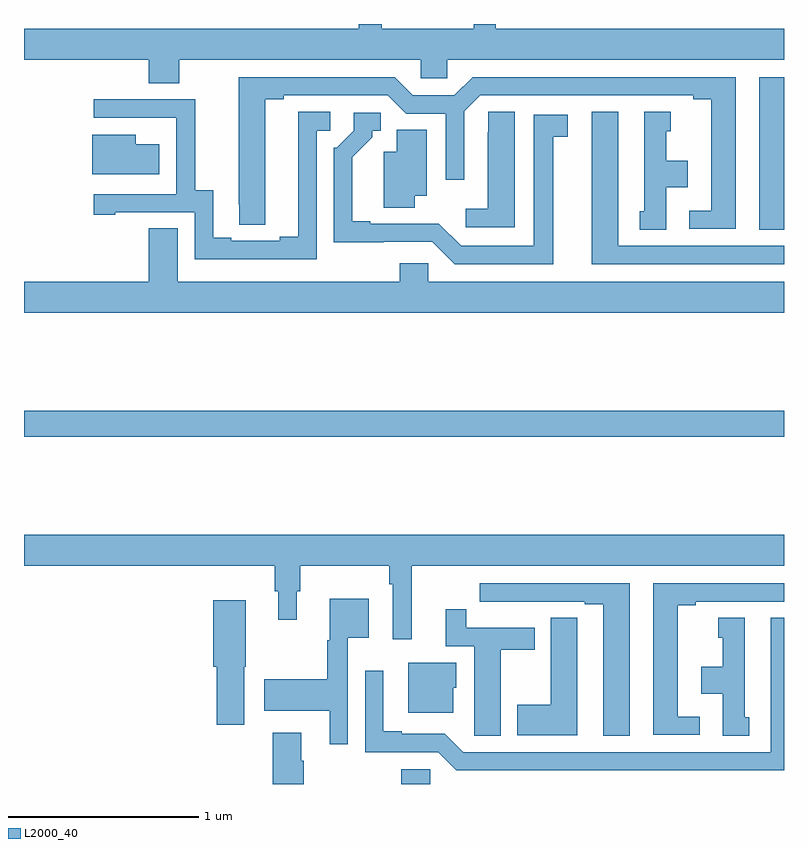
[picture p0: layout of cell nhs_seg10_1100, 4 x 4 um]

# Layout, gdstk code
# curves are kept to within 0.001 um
import gdstk
lib = gdstk.Library(unit=1e-6, precision=1e-09)
def R(c, l, rs):  # rectangles x0, y0, x1, y1
    for r in rs: c.add(gdstk.rectangle(r[:2], r[2:], *l))
def P(c, l, *ps):  # polygons
    for p in ps: c.add(gdstk.Polygon(p, *l))
L2000_40 = (2000, 40)

nhs_seg10_1100 = lib.new_cell('nhs_seg10_1100')
R(nhs_seg10_1100, L2000_40, [(168.986,1300.5,169.137,1300.578), (167,1302.328,171,1302.464), (170.87,1303.417,171,1304.22)])
P(nhs_seg10_1100, L2000_40, [(167.817,1304.312),(169.089,1304.312),(169.089,1304.214),(169.227,1304.214),(169.227,1304.312),(171,1304.312),(171,1304.476),(169.484,1304.476),(169.484,1304.5),(169.366,1304.5),(169.366,1304.476),(168.882,1304.476),(168.882,1304.5),(168.763,1304.5),(168.763,1304.476),(167,1304.476),(167,1304.312),(167.657,1304.312),(167.657,1304.188),(167.817,1304.188)],
  [(170.746,1304.22),(169.361,1304.22),(169.265,1304.124),(169.047,1304.124),(168.951,1304.22),(168.131,1304.22),(168.132,1303.444),(168.271,1303.444),(168.271,1304.104),(168.367,1304.104),(168.367,1304.124),(168.915,1304.124),(169.011,1304.028),(169.221,1304.028),(169.221,1303.68),(169.317,1303.68),(169.317,1304.04),(169.401,1304.124),(170.522,1304.124),(170.522,1304.104),(170.618,1304.104),(170.618,1303.518),(170.502,1303.518),(170.502,1303.422),(170.746,1303.422)],
  [(168.54,1303.938),(168.613,1303.938),(168.613,1304.039),(168.443,1304.039),(168.443,1303.379),(168.347,1303.379),(168.347,1303.359),(168.091,1303.359),(168.091,1303.374),(167.995,1303.374),(167.995,1303.625),(167.901,1303.625),(167.901,1304.103),(167.367,1304.103),(167.367,1304.007),(167.801,1304.007),(167.801,1304.006),(167.802,1304.006),(167.802,1303.605),(167.367,1303.605),(167.367,1303.497),(167.479,1303.497),(167.479,1303.509),(167.898,1303.509),(167.898,1303.263),(168.54,1303.263)],
  [(169.582,1304.039),(169.443,1304.039),(169.443,1303.931),(169.442,1303.931),(169.442,1303.528),(169.326,1303.528),(169.326,1303.431),(169.582,1303.431)],
  [(171,1303.332),(170.128,1303.332),(170.128,1304.038),(169.988,1304.038),(169.988,1303.236),(171,1303.236)],
  [(170.38,1303.64),(170.494,1303.64),(170.494,1303.78),(170.38,1303.78),(170.38,1303.935),(170.404,1303.935),(170.404,1304.038),(170.264,1304.038),(170.264,1303.515),(170.24,1303.515),(170.24,1303.417),(170.38,1303.417)],
  [(169.786,1303.906),(169.861,1303.906),(169.861,1304.022),(169.682,1304.022),(169.682,1303.332),(169.302,1303.332),(169.184,1303.45),(168.823,1303.449),(168.823,1303.462),(168.727,1303.462),(168.727,1303.798),(168.832,1303.903),(168.832,1303.938),(168.877,1303.938),(168.877,1304.034),(168.735,1304.034),(168.735,1303.938),(168.645,1303.848),(168.63,1303.848),(168.63,1303.352),(169.149,1303.353),(169.266,1303.236),(169.786,1303.236)],
  [(169.057,1303.595),(169.12,1303.595),(169.12,1303.943),(168.962,1303.943),(168.962,1303.828),(168.893,1303.828),(168.893,1303.534),(169.057,1303.534)],
  [(167.713,1303.867),(167.587,1303.867),(167.587,1303.918),(167.36,1303.918),(167.36,1303.709),(167.713,1303.709)],
  [(171,1303.144),(169.128,1303.144),(169.128,1303.242),(168.977,1303.242),(168.977,1303.144),(167.809,1303.144),(167.809,1303.424),(167.657,1303.424),(167.657,1303.144),(167,1303.144),(167,1302.98),(171,1302.98)],
  [(169.04,1301.648),(171,1301.648),(171,1301.812),(167,1301.812),(167,1301.648),(168.319,1301.648),(168.319,1301.514),(168.338,1301.514),(168.338,1301.364),(168.436,1301.364),(168.436,1301.514),(168.455,1301.514),(168.455,1301.648),(168.922,1301.648),(168.922,1301.552),(168.942,1301.552),(168.942,1301.262),(169.04,1301.262)],
  [(170.557,1300.854),(170.44,1300.854),(170.44,1301.44),(170.536,1301.44),(170.536,1301.46),(171,1301.46),(171,1301.556),(170.312,1301.556),(170.312,1300.758),(170.557,1300.758)],
  [(170.188,1301.556),(169.398,1301.556),(169.398,1301.46),(169.51,1301.46),(169.51,1301.459),(169.676,1301.459),(169.676,1301.46),(169.952,1301.46),(169.952,1301.445),(170.048,1301.445),(170.048,1300.753),(170.188,1300.753)],
  [(168.705,1301.27),(168.814,1301.27),(168.814,1301.476),(168.608,1301.476),(168.608,1301.256),(168.597,1301.256),(168.597,1301.052),(168.264,1301.052),(168.264,1300.886),(168.608,1300.886),(168.608,1300.71),(168.705,1300.71)],
  [(168.16,1301.118),(168.166,1301.118),(168.166,1301.467),(167.996,1301.467),(167.996,1301.118),(168.014,1301.118),(168.014,1300.812),(168.16,1300.812)],
  [(169.51,1301.206),(169.687,1301.206),(169.687,1301.322),(169.328,1301.322),(169.328,1301.419),(169.22,1301.419),(169.22,1301.226),(169.37,1301.226),(169.37,1300.864),(169.371,1300.864),(169.371,1300.753),(169.51,1300.753)],
  [(169.912,1301.267),(169.911,1301.267),(169.911,1301.375),(169.772,1301.375),(169.772,1300.917),(169.595,1300.917),(169.595,1300.757),(169.912,1300.757)],
  [(170.818,1300.851),(170.794,1300.851),(170.794,1301.374),(170.654,1301.374),(170.654,1301.271),(170.678,1301.271),(170.678,1301.116),(170.564,1301.116),(170.564,1300.976),(170.678,1300.976),(170.678,1300.753),(170.818,1300.753)],
  [(171,1301.374),(170.93,1301.374),(170.93,1300.668),(169.311,1300.668),(169.215,1300.764),(168.988,1300.764),(168.988,1300.777),(168.892,1300.777),(168.892,1301.095),(168.795,1301.095),(168.795,1300.668),(169.179,1300.668),(169.275,1300.572),(171,1300.572)],
  [(169.258,1301.007),(169.276,1301.007),(169.276,1301.137),(169.022,1301.137),(169.022,1300.874),(169.258,1300.874)],
  [(168.473,1300.622),(168.46,1300.622),(168.46,1300.771),(168.308,1300.771),(168.308,1300.5),(168.473,1300.5)])

lib.write_gds('nhs_seg10_1100.gds')
